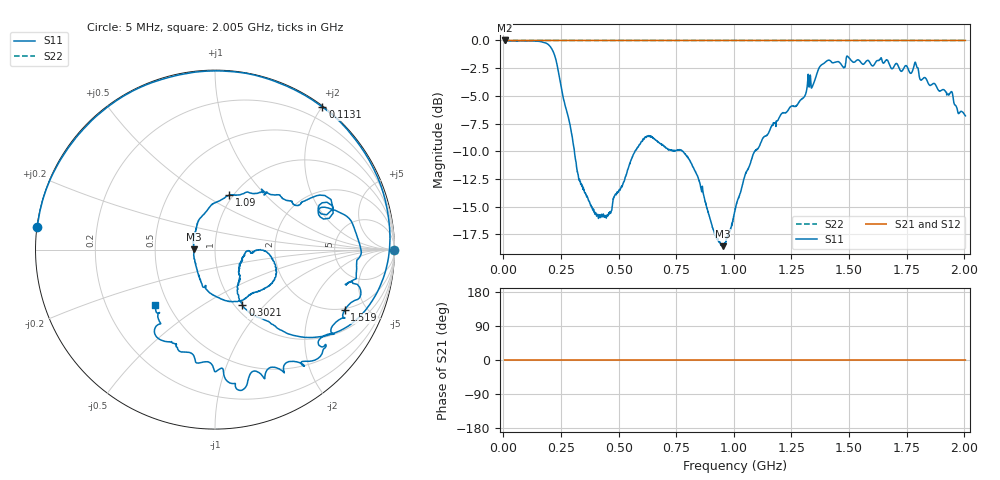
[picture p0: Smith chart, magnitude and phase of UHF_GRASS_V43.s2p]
!Keysight Technologies N9923A: A.08.09
!Date: Wednesday, 01 August 2018 07:15:23
!Timezone: (GMT+08:00) Kuala Lumpur, Singapore
!Model: N9923A
!Serial: MY52412143
!GPS Latitude:
!GPS Longitude:
!GPS TimeStamp: 0001-01-01 00:00:00Z
!GPS Seconds Since Last Read: 0
!CHECKSUM:1716802671
!Correction: S11(ON U)S21()S12()S22()
!S2P File: Measurements:S11,S21,S12,S22:
# Hz S DB R 50
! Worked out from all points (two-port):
!   2000 points, 5 MHz to 2.005 GHz, reference 50 ohm
!   highest |S21| = 0.00 dB at 5 MHz (marker M1); lowest = 0.0 dB at 5 MHz (marker M2)
!   |S21| within 3 dB of the highest: start of sweep to end of sweep
!   lowest |S11| = -18.6 dB at 952.5 MHz (marker M3), VSWR 1.27, Z = 39.5 + j0.0716 ohm
!   |S11| at or under -10 dB: 307.8 MHz to 570.9 MHz (263.1 MHz wide, 59.9 % of centre); 776 MHz to 1.09 GHz (314.4 MHz wide, 33.7 % of centre)
!   |S22| runs from 0.0 to 0.0 dB; largest |S21 - S12| = 0
!   S11 on the Smith chart (normalised r, x): 5 MHz: 0.00, +0.06; 113.1 MHz: 0.01, +2.00; 302.1 MHz: 1.08, -0.76; 1.09 GHz: 0.96, +0.65; 1.519 GHz: 1.91, -3.53; 2.005 GHz: 0.42, -0.33
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5000000  -0.02 172.9  0.00 0.0  0.00 0.0  0.00 0.0
2.601051e7  -0.05 144.0  0.00 0.0  0.00 0.0  0.00 0.0
5.602551e7  -0.06 107.0  0.00 0.0  0.00 0.0  0.00 0.0
1.13054e8  -0.04 53.0  0.00 0.0  0.00 0.0  0.00 0.0
1.760855e8  -0.17 7.0  0.00 0.0  0.00 0.0  0.00 0.0
2.261106e8  -1.62 -33.0  0.00 0.0  0.00 0.0  0.00 0.0
2.551251e8  -4.70 -50.6  0.00 0.0  0.00 0.0  0.00 0.0
3.021486e8  -9.25 -63.7  0.00 0.0  0.00 0.0  0.00 0.0
3.391671e8  -13.00 -52.2  0.00 0.0  0.00 0.0  0.00 0.0
4.472211e8  -15.94 -15.9  0.00 0.0  0.00 0.0  0.00 0.0
5.452701e8  -11.28 -1.1  0.00 0.0  0.00 0.0  0.00 0.0
6.723337e8  -9.18 -39.5  0.00 0.0  0.00 0.0  0.00 0.0
8.084017e8  -10.81 -79.3  0.00 0.0  0.00 0.0  0.00 0.0
9.524737e8  -18.58 179.6  0.00 0.0  0.00 0.0  0.00 0.0
1.0055e9  -15.22 125.4  0.00 0.0  0.00 0.0  0.00 0.0
1.089542e9  -10.05 75.3  0.00 0.0  0.00 0.0  0.00 0.0
1.338667e9  -4.26 20.1  0.00 0.0  0.00 0.0  0.00 0.0
1.407701e9  -1.80 0.0  0.00 0.0  0.00 0.0  0.00 0.0
1.518757e9  -1.98 -25.1  0.00 0.0  0.00 0.0  0.00 0.0
1.671833e9  -1.98 -52.9  0.00 0.0  0.00 0.0  0.00 0.0
1.791893e9  -2.27 -81.5  0.00 0.0  0.00 0.0  0.00 0.0
2.005e9  -6.81 -137.4  0.00 0.0  0.00 0.0  0.00 0.0
